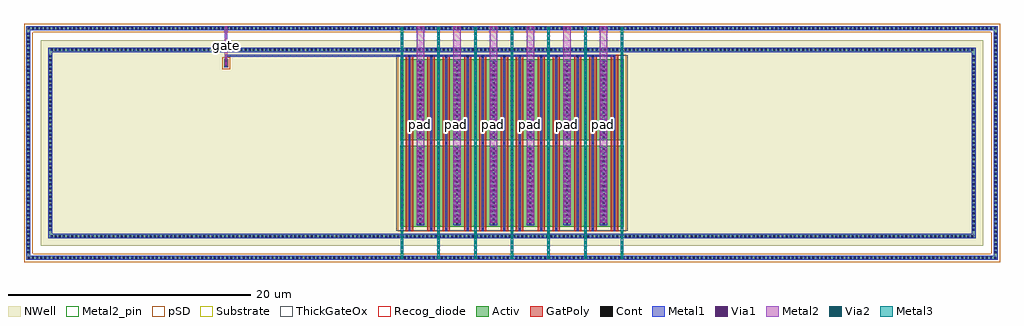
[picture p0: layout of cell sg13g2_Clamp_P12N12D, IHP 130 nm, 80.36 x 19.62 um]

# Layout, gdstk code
import gdstk
lib = gdstk.Library(unit=1e-6, precision=1e-09)
def R(c, l, rs):  # rectangles x0, y0, x1, y1
    for r in rs: c.add(gdstk.rectangle(r[:2], r[2:], *l))
def A(c, l, x, y, w, h, nx, ny, dx, dy):  # array of equal rectangles
    R(c, l, [(x+i*dx, y+j*dy, x+i*dx+w, y+j*dy+h) for i in range(nx) for j in range(ny)])
def P(c, l, *ps):  # polygons
    for p in ps: c.add(gdstk.Polygon(p, *l))
Activ = (1, 0)
GatPoly = (5, 0)
Cont = (6, 0)
Metal1 = (8, 0)
Metal2 = (10, 0)
Metal2_pin = (10, 2)
pSD = (14, 0)
Via1 = (19, 0)
Via2 = (29, 0)
Metal3 = (30, 0)
NWell = (31, 0)
Substrate = (40, 0)
ThickGateOx = (44, 0)
Recog_diode = (99, 31)

sg13g2_guardring_p16000w = lib.new_cell('sg13g2_GuardRing_P16000W3852HFF')
P(sg13g2_guardring_p16000w, Activ, [(-40,-9.63),(-40,9.29),(-39.66,9.29),(-39.66,-9.29),(39.66,-9.29),(39.66,9.29),(-40,9.29),(-40,9.63),(40,9.63),(40,-9.63)])
A(sg13g2_guardring_p16000w, Cont, -39.86, -9.54, 0.16, 0.16, 235, 2, 0.34, 18.92)
A(sg13g2_guardring_p16000w, Cont, -39.91, -9.09, 0.16, 0.16, 1, 54, 0, 0.34)
A(sg13g2_guardring_p16000w, Cont, 39.75, -9.09, 0.16, 0.16, 1, 54, 0, 0.34)
P(sg13g2_guardring_p16000w, Metal1, [(-40,-9.63),(-40,9.29),(-39.66,9.29),(-39.66,-9.29),(39.66,-9.29),(39.66,9.29),(-40,9.29),(-40,9.63),(40,9.63),(40,-9.63)])
P(sg13g2_guardring_p16000w, pSD, [(-40.18,-9.81),(-40.18,9.11),(-39.48,9.11),(-39.48,-9.11),(39.48,-9.11),(39.48,9.11),(-40.18,9.11),(-40.18,9.81),(40.18,9.81),(40.18,-9.81)])
P(sg13g2_guardring_p16000w, Substrate, [(-40,-9.63),(-40,9.29),(-39.66,9.29),(-39.66,-9.29),(39.66,-9.29),(39.66,9.29),(-40,9.29),(-40,9.63),(40,9.63),(40,-9.63)])
sg13g2_guardring_p16000w.add(gdstk.Label('sub!', (-39.83,-9.46), layer=63, texttype=0))

sg13g2_guardring_n15280w = lib.new_cell('sg13g2_GuardRing_N15280W3132HTF')
P(sg13g2_guardring_n15280w, Activ, [(-38.2,-7.83),(-38.2,7.49),(-37.86,7.49),(-37.86,-7.49),(37.86,-7.49),(37.86,7.49),(-38.2,7.49),(-38.2,7.83),(38.2,7.83),(38.2,-7.83)])
A(sg13g2_guardring_n15280w, Cont, -37.99, -7.74, 0.16, 0.16, 224, 2, 0.34, 15.32)
A(sg13g2_guardring_n15280w, Cont, -38.11, -7.22, 0.16, 0.16, 1, 43, 0, 0.34)
A(sg13g2_guardring_n15280w, Cont, 37.95, -7.22, 0.16, 0.16, 1, 43, 0, 0.34)
P(sg13g2_guardring_n15280w, Metal1, [(-38.2,-7.83),(-38.2,7.49),(-37.86,7.49),(-37.86,-7.49),(37.86,-7.49),(37.86,7.49),(-38.2,7.49),(-38.2,7.83),(38.2,7.83),(38.2,-7.83)])
R(sg13g2_guardring_n15280w, NWell, [(-38.82,-8.45,38.82,8.45)])

sg13g2_clamp_p12n12d = lib.new_cell('sg13g2_Clamp_P12N12D')
R(sg13g2_clamp_p12n12d, Activ, [(30.79,2.75,49.21,9.41), (30.79,9.85,49.21,16.51), (16.315,15.87,16.615,16.51)])
R(sg13g2_clamp_p12n12d, GatPoly, [(31.26,2.38,31.86,16.88), (33.04,2.38,33.64,16.88), (34.28,2.38,34.88,16.88), (36.06,2.38,36.66,16.88), (37.3,2.38,37.9,16.88), (39.08,2.38,39.68,16.88), (40.32,2.38,40.92,16.88), (42.1,2.38,42.7,16.88), (43.34,2.38,43.94,16.88), (45.12,2.38,45.72,16.88), (46.36,2.38,46.96,16.88), (48.14,2.38,48.74,16.88)])
A(sg13g2_clamp_p12n12d, Cont, 31.48, 2.45, 0.16, 0.16, 1, 3, 0, 7.1)
A(sg13g2_clamp_p12n12d, Cont, 33.26, 2.45, 0.16, 0.16, 1, 3, 0, 7.1)
A(sg13g2_clamp_p12n12d, Cont, 34.5, 2.45, 0.16, 0.16, 1, 3, 0, 7.1)
A(sg13g2_clamp_p12n12d, Cont, 36.28, 2.45, 0.16, 0.16, 1, 3, 0, 7.1)
A(sg13g2_clamp_p12n12d, Cont, 37.52, 2.45, 0.16, 0.16, 1, 3, 0, 7.1)
A(sg13g2_clamp_p12n12d, Cont, 39.3, 2.45, 0.16, 0.16, 1, 3, 0, 7.1)
A(sg13g2_clamp_p12n12d, Cont, 40.54, 2.45, 0.16, 0.16, 1, 3, 0, 7.1)
A(sg13g2_clamp_p12n12d, Cont, 42.32, 2.45, 0.16, 0.16, 1, 3, 0, 7.1)
A(sg13g2_clamp_p12n12d, Cont, 43.56, 2.45, 0.16, 0.16, 1, 3, 0, 7.1)
A(sg13g2_clamp_p12n12d, Cont, 45.34, 2.45, 0.16, 0.16, 1, 3, 0, 7.1)
A(sg13g2_clamp_p12n12d, Cont, 46.58, 2.45, 0.16, 0.16, 1, 3, 0, 7.1)
A(sg13g2_clamp_p12n12d, Cont, 48.36, 2.45, 0.16, 0.16, 1, 3, 0, 7.1)
A(sg13g2_clamp_p12n12d, Cont, 30.86, 2.94, 0.16, 0.16, 13, 19, 1.51, 0.34)
A(sg13g2_clamp_p12n12d, Cont, 30.86, 10.04, 0.16, 0.16, 13, 19, 1.51, 0.34)
R(sg13g2_clamp_p12n12d, Cont, [(16.385,15.94,16.545,16.1), (16.385,16.28,16.545,16.44)])
A(sg13g2_clamp_p12n12d, Metal1, 30.835, 1.8, 0.21, 0.34, 7, 2, 3.02, 15.32)
A(sg13g2_clamp_p12n12d, Metal1, 30.835, 2.86, 0.21, 6.44, 7, 2, 3.02, 7.1)
A(sg13g2_clamp_p12n12d, Metal1, 32.14, 2.86, 0.62, 6.44, 6, 2, 3.02, 7.1)
P(sg13g2_clamp_p12n12d, Metal1, [(31.48,2.37),(31.48,16.73),(16.57,16.73),(16.57,15.86),(16.36,15.86),(16.36,16.89),(48.52,16.89),(48.52,2.37),(48.36,2.37),(48.36,16.73),(46.74,16.73),(46.74,2.37),(46.58,2.37),(46.58,16.73),(45.5,16.73),(45.5,2.37),(45.34,2.37),(45.34,16.73),(43.72,16.73),(43.72,2.37),(43.56,2.37),(43.56,16.73),(42.48,16.73),(42.48,2.37),(42.32,2.37),(42.32,16.73),(40.7,16.73),(40.7,2.37),(40.54,2.37),(40.54,16.73),(39.46,16.73),(39.46,2.37),(39.3,2.37),(39.3,16.73),(37.68,16.73),(37.68,2.37),(37.52,2.37),(37.52,16.73),(36.44,16.73),(36.44,2.37),(36.28,2.37),(36.28,16.73),(34.66,16.73),(34.66,2.37),(34.5,2.37),(34.5,16.73),(33.42,16.73),(33.42,2.37),(33.26,2.37),(33.26,16.73),(31.64,16.73),(31.64,2.37)])
A(sg13g2_clamp_p12n12d, Metal2, 30.84, 0, 0.2, 19.26, 7, 1, 3.02, 0)
A(sg13g2_clamp_p12n12d, Metal2, 32.145, 3.065, 0.61, 16.195, 6, 1, 3.02, 0)
R(sg13g2_clamp_p12n12d, Metal2, [(16.365,16.025,16.565,19.26)])
A(sg13g2_clamp_p12n12d, Metal2_pin, 32.145, 3.065, 0.61, 16.195, 6, 1, 3.02, 0)
R(sg13g2_clamp_p12n12d, Metal2_pin, [(16.365,16.025,16.565,19.26)])
R(sg13g2_clamp_p12n12d, pSD, [(30.61,2.35,49.39,16.91), (16.135,15.69,16.795,16.69)])
A(sg13g2_clamp_p12n12d, Via1, 30.845, 1.875, 0.19, 0.19, 7, 2, 3.02, 15.32)
A(sg13g2_clamp_p12n12d, Via1, 30.845, 3.115, 0.19, 0.19, 1, 15, 0, 0.41)
A(sg13g2_clamp_p12n12d, Via1, 32.15, 3.115, 0.19, 0.19, 1, 15, 0, 0.41)
A(sg13g2_clamp_p12n12d, Via1, 32.56, 3.115, 0.19, 0.19, 3, 15, 1.305, 0.41)
A(sg13g2_clamp_p12n12d, Via1, 35.58, 3.115, 0.19, 0.19, 3, 15, 1.305, 0.41)
A(sg13g2_clamp_p12n12d, Via1, 38.6, 3.115, 0.19, 0.19, 3, 15, 1.305, 0.41)
A(sg13g2_clamp_p12n12d, Via1, 41.62, 3.115, 0.19, 0.19, 3, 15, 1.305, 0.41)
A(sg13g2_clamp_p12n12d, Via1, 44.64, 3.115, 0.19, 0.19, 3, 15, 1.305, 0.41)
A(sg13g2_clamp_p12n12d, Via1, 47.66, 3.115, 0.19, 0.19, 1, 15, 0, 0.41)
A(sg13g2_clamp_p12n12d, Via1, 48.965, 3.115, 0.19, 0.19, 1, 15, 0, 0.41)
A(sg13g2_clamp_p12n12d, Via1, 30.845, 10.215, 0.19, 0.19, 1, 15, 0, 0.41)
A(sg13g2_clamp_p12n12d, Via1, 32.15, 10.215, 0.19, 0.19, 1, 15, 0, 0.41)
A(sg13g2_clamp_p12n12d, Via1, 32.56, 10.215, 0.19, 0.19, 3, 15, 1.305, 0.41)
A(sg13g2_clamp_p12n12d, Via1, 35.58, 10.215, 0.19, 0.19, 3, 15, 1.305, 0.41)
A(sg13g2_clamp_p12n12d, Via1, 38.6, 10.215, 0.19, 0.19, 3, 15, 1.305, 0.41)
A(sg13g2_clamp_p12n12d, Via1, 41.62, 10.215, 0.19, 0.19, 3, 15, 1.305, 0.41)
A(sg13g2_clamp_p12n12d, Via1, 44.64, 10.215, 0.19, 0.19, 3, 15, 1.305, 0.41)
A(sg13g2_clamp_p12n12d, Via1, 47.66, 10.215, 0.19, 0.19, 1, 15, 0, 0.41)
A(sg13g2_clamp_p12n12d, Via1, 48.965, 10.215, 0.19, 0.19, 1, 15, 0, 0.41)
R(sg13g2_clamp_p12n12d, Via1, [(16.37,16.075,16.56,16.265), (16.37,16.485,16.56,16.675)])
A(sg13g2_clamp_p12n12d, Via2, 30.845, 0.105, 0.19, 0.19, 7, 47, 3.02, 0.41)
A(sg13g2_clamp_p12n12d, Metal3, 30.84, 0.055, 0.2, 19.15, 7, 1, 3.02, 0)
R(sg13g2_clamp_p12n12d, NWell, [(30.17,2.13,49.83,17.13), (15.695,15.25,17.235,17.13)])
R(sg13g2_clamp_p12n12d, ThickGateOx, [(30.45,2.41,49.55,16.85)])
R(sg13g2_clamp_p12n12d, Recog_diode, [(16.295,15.85,16.635,16.53)])
sg13g2_clamp_p12n12d.add(gdstk.Reference(sg13g2_guardring_p16000w, (40,9.63)))
sg13g2_clamp_p12n12d.add(gdstk.Reference(sg13g2_guardring_n15280w, (40,9.63)))
sg13g2_clamp_p12n12d.add(gdstk.Label('pad', (38.49,11.163), layer=10, texttype=25))
sg13g2_clamp_p12n12d.add(gdstk.Label('pad', (47.55,11.163), layer=10, texttype=25))
sg13g2_clamp_p12n12d.add(gdstk.Label('pad', (32.45,11.163), layer=10, texttype=25))
sg13g2_clamp_p12n12d.add(gdstk.Label('pad', (35.47,11.163), layer=10, texttype=25))
sg13g2_clamp_p12n12d.add(gdstk.Label('pad', (41.51,11.163), layer=10, texttype=25))
sg13g2_clamp_p12n12d.add(gdstk.Label('pad', (44.53,11.163), layer=10, texttype=25))
sg13g2_clamp_p12n12d.add(gdstk.Label('gate', (16.465,17.643), layer=10, texttype=25))

lib.write_gds('sg13g2_Clamp_P12N12D.gds')
